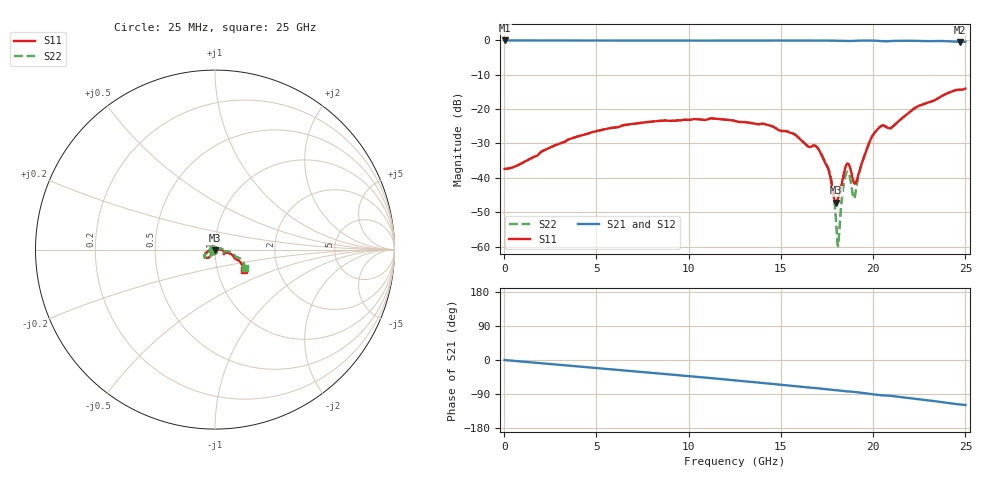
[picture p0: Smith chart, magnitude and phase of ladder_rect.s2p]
! RG_s4_pwr_n4: kisi's ladder with the plane pair as a finite cavity (rect) (Finite board 24 × 16 mm, via L1 → L4 through the GND/PWR pair L2/L3, four GND vias at 1 mm joined to L2 only (openings in the PWR plane L3))
# Hz S RI R 50
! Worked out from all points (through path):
!   1000 points, 25 MHz to 25 GHz, reference 50 ohm
!   highest |S21| = -0.12 dB at 25 MHz (marker M1); lowest = -0.5 dB at 24.73 GHz (marker M2)
!   group delay of S21, straight-line fit = 13 ps
!   lowest |S11| = -47.2 dB at 17.98 GHz (marker M3), VSWR 1.01, Z = 49.8 - j0.386 ohm
!   |S11| at or under -10 dB: start of sweep to end of sweep
!   |S22| runs from -59.8 to -14.1 dB; largest |S21 - S12| = 0
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2.5e7  -0.0135 -0.000219  0.9865 -0.00181  0.9865 -0.00181  -0.0135 -0.00022
4.2e9  -0.0243 -0.0336  0.9391 -0.2995  0.9391 -0.2995  -0.0242 -0.0338
8.35e9  -0.0475 -0.0471  0.8027 -0.5701  0.8027 -0.5701  -0.0476 -0.0475
1.2525e10  -0.0586 -0.0319  0.5812 -0.7949  0.5812 -0.7949  -0.0591 -0.0319
1.4425e10  -0.0533 -0.0208  0.456 -0.8722  0.456 -0.8722  -0.0541 -0.0202
1.6675e10  -0.0263 -0.0119  0.2806 -0.9355  0.2806 -0.9355  -0.0269 -0.00943
1.7025e10  -0.0257 -0.00616  0.2574 -0.948  0.2574 -0.948  -0.0265 -0.00364
1.7575e10  -0.013 -0.00242  0.2076 -0.9608  0.2076 -0.9608  -0.0138 0.000878
1.78e10  -0.00638 -0.00216  0.1855 -0.9643  0.1855 -0.9643  -0.00718 0.00154
1.7975e10  -0.00204 -0.00388  0.1693 -0.9646  0.1693 -0.9646  -0.00269 8.31e-05
1.8075e10  -0.000137 -0.0049  0.1606 -0.9646  0.1606 -0.9646  -0.000691 -0.000818
1.815e10  0.00122 -0.00546  0.1542 -0.9648  0.1542 -0.9648  0.000725 -0.0013
1.8375e10  0.0064 -0.0082  0.1338 -0.9642  0.1338 -0.9642  0.00614 -0.00372
1.855e10  0.00767 -0.0135  0.121 -0.9597  0.121 -0.9597  0.00777 -0.0089
1.8975e10  0.00447 -0.00706  0.0981 -0.9706  0.0981 -0.9706  0.0043 -0.00265
1.94e10  0.0167 -0.00165  0.0573 -0.9803  0.0573 -0.9803  0.0164 0.00355
1.99e10  0.038 -0.00177  0.00106 -0.9835  0.00106 -0.9835  0.0378 0.00477
2.0425e10  0.0537 -0.0184  -0.0509 -0.9658  -0.0509 -0.9658  0.0548 -0.0109
2.085e10  0.0476 -0.0226  -0.0694 -0.9607  -0.0694 -0.9607  0.049 -0.0154
2.235e10  0.101 -0.035  -0.224 -0.946  -0.224 -0.946  0.1038 -0.0242
2.4725e10  0.1533 -0.113  -0.4311 -0.8345  -0.4311 -0.8345  0.1626 -0.0984
2.5e10  0.1595 -0.1162  -0.4538 -0.8285  -0.4538 -0.8285  0.1691 -0.1011
